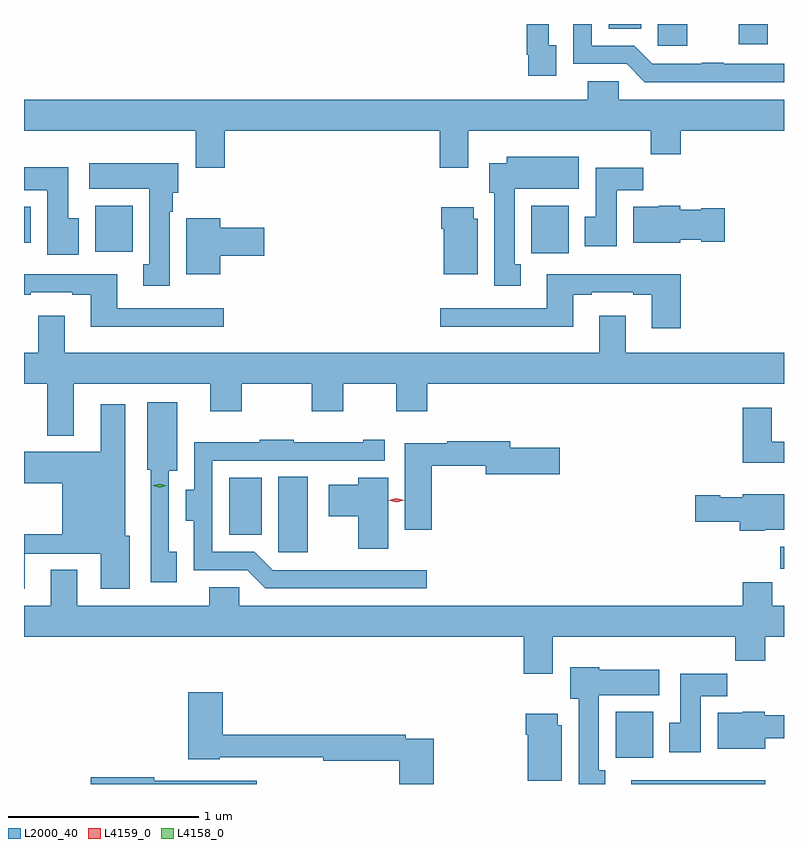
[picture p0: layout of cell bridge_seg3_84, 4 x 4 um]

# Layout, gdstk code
import gdstk
lib = gdstk.Library(unit=1e-6, precision=1e-09)
def R(c, l, rs):  # rectangles x0, y0, x1, y1
    for r in rs: c.add(gdstk.rectangle(r[:2], r[2:], *l))
def P(c, l, *ps):  # polygons
    for p in ps: c.add(gdstk.Polygon(p, *l))
L2000_40 = (2000, 40)
L4158_0 = (4158, 0)
L4159_0 = (4159, 0)

bridge_seg3_84 = lib.new_cell('bridge_seg3_84')
R(bridge_seg3_84, L2000_40, [(421.853,693.482,422.558,693.502), (421.772,693.62,421.969,693.862), (422.638,694.614,422.658,694.732), (419.996,694.703,420.151,695.099), (419.738,694.793,419.908,695.095), (421.329,696.276,421.525,696.526), (419.033,696.284,419.23,696.526), (418.658,696.332,418.693,696.52), (421.994,697.368,422.149,697.482), (422.42,697.376,422.572,697.482), (421.736,697.457,421.906,697.482)])
P(bridge_seg3_84, L2000_40, [(422.658,697.272),(422.342,697.272),(422.342,697.277),(422.224,697.277),(422.224,697.272),(421.965,697.272),(421.869,697.368),(421.647,697.368),(421.647,697.482),(421.55,697.482),(421.55,697.272),(421.83,697.272),(421.926,697.176),(422.658,697.176)],
  [(421.459,697.369),(421.419,697.369),(421.419,697.482),(421.303,697.482),(421.303,697.321),(421.311,697.321),(421.311,697.209),(421.459,697.209)],
  [(419.714,696.92),(420.845,696.92),(420.845,696.726),(420.997,696.726),(420.997,696.92),(421.957,696.92),(421.957,696.796),(422.114,696.796),(422.114,696.92),(422.658,696.92),(422.658,697.084),(421.788,697.084),(421.788,697.182),(421.625,697.182),(421.625,697.084),(418.658,697.084),(418.658,696.92),(419.561,696.92),(419.561,696.726),(419.714,696.726)],
  [(421.273,696.217),(421.24,696.217),(421.24,696.614),(421.579,696.614),(421.579,696.784),(421.199,696.784),(421.199,696.748),(421.106,696.748),(421.106,696.594),(421.133,696.594),(421.133,696.105),(421.273,696.105)],
  [(419.425,696.494),(419.44,696.494),(419.44,696.594),(419.47,696.594),(419.47,696.748),(419.001,696.748),(419.001,696.614),(419.318,696.614),(419.318,696.218),(419.285,696.218),(419.285,696.105),(419.425,696.105)],
  [(418.945,696.46),(418.891,696.46),(418.891,696.727),(418.658,696.727),(418.658,696.608),(418.781,696.608),(418.781,696.267),(418.945,696.267)],
  [(421.777,696.608),(421.916,696.608),(421.916,696.726),(421.667,696.726),(421.667,696.468),(421.61,696.468),(421.61,696.312),(421.777,696.312)],
  [(422.112,696.347),(422.223,696.347),(422.223,696.335),(422.347,696.335),(422.347,696.513),(422.223,696.513),(422.223,696.505),(422.112,696.505),(422.112,696.526),(421.998,696.526),(421.998,696.52),(421.865,696.52),(421.865,696.332),(422.112,696.332)],
  [(421.045,696.456),(421.024,696.456),(421.024,696.517),(420.854,696.517),(420.854,696.404),(420.866,696.404),(420.866,696.164),(421.045,696.164)],
  [(419.692,696.263),(419.923,696.263),(419.923,696.41),(419.692,696.41),(419.692,696.46),(419.513,696.46),(419.513,696.164),(419.692,696.164)],
  [(419.71,695.985),(419.149,695.985),(419.149,696.165),(418.689,696.165),(418.689,696.166),(418.658,696.166),(418.658,696.057),(418.693,696.057),(418.693,696.069),(418.913,696.069),(418.913,696.057),(419.009,696.057),(419.009,695.888),(419.71,695.888)],
  [(422.114,696.166),(421.409,696.166),(421.409,695.985),(420.849,695.985),(420.849,695.888),(421.549,695.888),(421.549,696.057),(421.645,696.057),(421.645,696.069),(421.865,696.069),(421.865,696.057),(421.961,696.057),(421.961,695.88),(422.114,695.88)],
  [(418.921,695.588),(419.639,695.588),(419.639,695.445),(419.803,695.445),(419.803,695.588),(420.173,695.588),(420.173,695.445),(420.337,695.445),(420.337,695.588),(420.617,695.588),(420.617,695.445),(420.781,695.445),(420.781,695.588),(422.658,695.588),(422.658,695.752),(421.825,695.752),(421.825,695.947),(421.685,695.947),(421.685,695.752),(418.873,695.752),(418.873,695.947),(418.733,695.947),(418.733,695.752),(418.658,695.752),(418.658,695.588),(418.781,695.588),(418.781,695.315),(418.921,695.315)],
  [(419.461,694.705),(419.421,694.705),(419.421,695.132),(419.464,695.132),(419.464,695.491),(419.306,695.491),(419.306,695.136),(419.324,695.136),(419.324,694.888),(419.325,694.888),(419.325,694.545),(419.461,694.545)],
  [(418.663,694.695),(419.063,694.695),(419.063,694.509),(419.215,694.509),(419.215,694.788),(419.191,694.788),(419.191,695.482),(419.063,695.482),(419.063,695.23),(418.658,695.23),(418.658,695.066),(418.859,695.066),(418.859,694.796),(418.658,694.796),(418.658,694.509),(418.663,694.509)],
  [(422.658,695.284),(422.593,695.284),(422.593,695.461),(422.441,695.461),(422.441,695.174),(422.658,695.174)],
  [(420.778,694.608),(419.967,694.608),(419.871,694.704),(419.649,694.704),(419.649,695.184),(420.556,695.184),(420.556,695.293),(420.443,695.293),(420.443,695.281),(420.077,695.281),(420.077,695.293),(419.899,695.293),(419.899,695.281),(419.553,695.281),(419.553,695.032),(419.51,695.032),(419.51,694.868),(419.552,694.868),(419.552,694.608),(419.832,694.608),(419.928,694.512),(420.778,694.512)],
  [(420.803,695.158),(421.088,695.158),(421.088,695.111),(421.477,695.111),(421.477,695.253),(421.216,695.253),(421.216,695.287),(420.886,695.287),(420.886,695.275),(420.662,695.275),(420.662,694.821),(420.803,694.821)],
  [(420.574,695.095),(420.416,695.095),(420.416,695.056),(420.261,695.056),(420.261,694.892),(420.416,694.892),(420.416,694.719),(420.574,694.719)],
  [(422.556,694.82),(422.658,694.82),(422.658,695.008),(422.442,695.008),(422.442,694.99),(422.322,694.99),(422.322,695.003),(422.19,695.003),(422.19,694.861),(422.426,694.861),(422.426,694.814),(422.556,694.814)],
  [(421.441,694.256),(422.401,694.256),(422.401,694.132),(422.558,694.132),(422.558,694.256),(422.658,694.256),(422.658,694.42),(422.597,694.42),(422.597,694.544),(422.441,694.544),(422.441,694.42),(419.79,694.42),(419.79,694.518),(419.632,694.518),(419.632,694.42),(418.939,694.42),(418.939,694.61),(418.799,694.61),(418.799,694.42),(418.658,694.42),(418.658,694.256),(421.289,694.256),(421.289,694.062),(421.441,694.062)],
  [(421.717,693.554),(421.684,693.554),(421.684,693.95),(422.002,693.95),(422.002,694.084),(421.686,694.084),(421.686,694.096),(421.532,694.096),(421.532,693.93),(421.577,693.93),(421.577,693.482),(421.717,693.482)],
  [(422.221,693.944),(422.36,693.944),(422.36,694.063),(422.111,694.063),(422.111,693.804),(422.054,693.804),(422.054,693.648),(422.221,693.648)],
  [(420.815,693.72),(420.668,693.72),(420.668,693.74),(419.705,693.74),(419.705,693.964),(419.522,693.964),(419.522,693.611),(419.688,693.611),(419.688,693.624),(419.98,693.624),(419.98,693.623),(420.232,693.623),(420.232,693.604),(420.632,693.604),(420.632,693.482),(420.815,693.482)],
  [(422.56,693.722),(422.658,693.722),(422.658,693.844),(422.556,693.844),(422.556,693.862),(422.442,693.862),(422.442,693.856),(422.309,693.856),(422.309,693.668),(422.56,693.668)],
  [(421.489,693.792),(421.468,693.792),(421.468,693.853),(421.298,693.853),(421.298,693.74),(421.31,693.74),(421.31,693.5),(421.489,693.5)],
  [(419.884,693.498),(419.344,693.498),(419.344,693.518),(419.009,693.518),(419.009,693.482),(419.884,693.482)])
P(bridge_seg3_84, L4158_0, [(419.373,695.042),(419.337,695.053),(419.337,695.054),(419.337,695.054),(419.373,695.062),(419.409,695.051),(419.409,695.051),(419.409,695.051)])
P(bridge_seg3_84, L4159_0, [(420.619,694.966),(420.578,694.975),(420.578,694.975),(420.578,694.975),(420.618,694.986),(420.659,694.976),(420.659,694.976),(420.659,694.976)])

lib.write_gds('bridge_seg3_84.gds')
